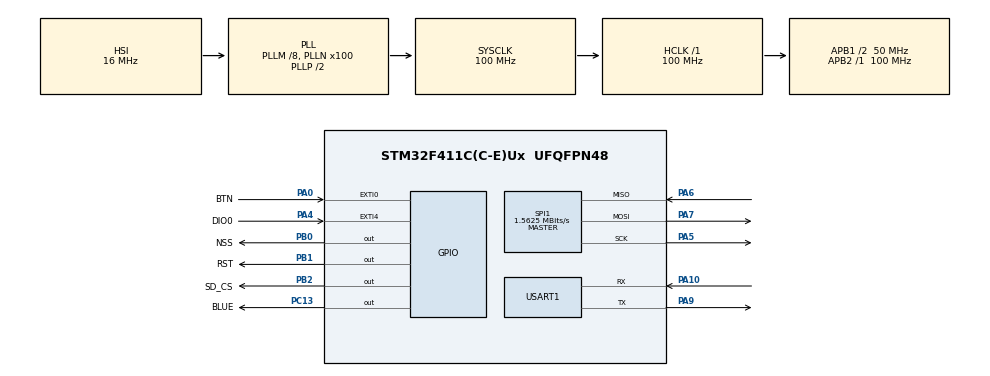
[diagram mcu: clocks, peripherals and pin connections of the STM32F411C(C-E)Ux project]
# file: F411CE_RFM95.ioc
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FATFS._MAX_SS=4096
FATFS._USE_LFN=1
Mcu.Family=STM32F4
Mcu.Name=STM32F411C(C-E)Ux
Mcu.Package=UFQFPN48
NVIC.EXTI0_IRQn=true\:5\:0\:true\:false\:true\:true\:true\:true
NVIC.EXTI4_IRQn=true\:5\:0\:true\:false\:true\:true\:true\:true
NVIC.PriorityGroup=NVIC_PRIORITYGROUP_4
NVIC.TIM2_IRQn=true\:4\:0\:true\:false\:true\:true\:true\:true
NVIC.TIM3_IRQn=true\:4\:0\:true\:false\:true\:true\:true\:true
NVIC.USART1_IRQn=true\:6\:0\:true\:false\:true\:true\:true\:true
PA0-WKUP.GPIO_Label=BTN
PA0-WKUP.GPIO_PuPd=GPIO_PULLUP
PA0-WKUP.Signal=GPXTI0
PA10.Mode=Asynchronous
PA10.Signal=USART1_RX
PA13.Mode=Serial_Wire
PA13.Signal=SYS_JTMS-SWDIO
PA14.Mode=Serial_Wire
PA14.Signal=SYS_JTCK-SWCLK
PA4.GPIO_Label=DIO0
PA4.GPIO_PuPd=GPIO_PULLDOWN
PA4.Signal=GPXTI4
PA5.Mode=Full_Duplex_Master
PA5.Signal=SPI1_SCK
PA6.Mode=Full_Duplex_Master
PA6.Signal=SPI1_MISO
PA7.Mode=Full_Duplex_Master
PA7.Signal=SPI1_MOSI
PA9.Mode=Asynchronous
PA9.Signal=USART1_TX
PB0.GPIO_Label=NSS
PB0.GPIO_PuPd=GPIO_PULLUP
PB0.PinState=GPIO_PIN_SET
PB0.Signal=GPIO_Output
PB1.GPIO_Label=RST
PB1.GPIO_PuPd=GPIO_PULLUP
PB1.PinState=GPIO_PIN_SET
PB1.Signal=GPIO_Output
PB2.GPIO_Label=SD_CS
PB2.GPIO_ModeDefaultOutputPP=GPIO_MODE_OUTPUT_PP
PB2.GPIO_PuPd=GPIO_PULLUP
PB2.PinState=GPIO_PIN_SET
PB2.Signal=GPIO_Output
PC13-ANTI_TAMP.GPIO_Label=BLUE
PC13-ANTI_TAMP.Signal=GPIO_Output
PC14-OSC32_IN.Mode=LSE-External-Oscillator
PC14-OSC32_IN.Signal=RCC_OSC32_IN
PC15-OSC32_OUT.Mode=LSE-External-Oscillator
PC15-OSC32_OUT.Signal=RCC_OSC32_OUT
PH0\ -\ OSC_IN.Mode=HSE-External-Oscillator
PH0\ -\ OSC_IN.Signal=RCC_OSC_IN
PH1\ -\ OSC_OUT.Mode=HSE-External-Oscillator
PH1\ -\ OSC_OUT.Signal=RCC_OSC_OUT
ProjectManager.HeapSize=0x200
ProjectManager.StackSize=0x400
ProjectManager.TargetToolchain=STM32CubeIDE
RCC.48MHZClocksFreq_Value=50000000
RCC.AHBFreq_Value=100000000
RCC.APB1CLKDivider=RCC_HCLK_DIV2
RCC.APB1Freq_Value=50000000
RCC.APB1TimFreq_Value=100000000
RCC.APB2Freq_Value=100000000
RCC.APB2TimFreq_Value=100000000
RCC.CortexFreq_Value=100000000
RCC.HCLKFreq_Value=100000000
RCC.HSE_VALUE=25000000
RCC.HSI_VALUE=16000000
RCC.PLLM=8
RCC.PLLN=100
RCC.RCC_RTC_Clock_SourceVirtual=RCC_RTCCLKSOURCE_LSE
RCC.SYSCLKFreq_VALUE=100000000
RCC.SYSCLKSource=RCC_SYSCLKSOURCE_PLLCLK
RCC.VCOOutputFreq_Value=200000000
RTC.Date=24
RTC.Hours=21
RTC.Minutes=50
RTC.Month=RTC_MONTH_FEBRUARY
RTC.WeekDay=RTC_WEEKDAY_SATURDAY
RTC.Year=24
SPI1.BaudRatePrescaler=SPI_BAUDRATEPRESCALER_64
SPI1.CalculateBaudRate=1.5625 MBits/s
SPI1.Direction=SPI_DIRECTION_2LINES
SPI1.Mode=SPI_MODE_MASTER
SPI1.VirtualType=VM_MASTER
TIM1.Prescaler=100-1
TIM2.Period=3000000-1
TIM2.Prescaler=100-1
TIM3.Period=25000-1
TIM3.Prescaler=10000-1
USART1.VirtualMode=VM_ASYNC
VP_FATFS_VS_Generic.Mode=User_defined
VP_RTC_VS_RTC_Activate.Mode=RTC_Enabled
VP_RTC_VS_RTC_Calendar.Mode=RTC_Calendar
VP_TIM1_VS_ClockSourceINT.Mode=Internal
VP_TIM2_VS_ClockSourceINT.Mode=Internal
VP_TIM3_VS_ClockSourceINT.Mode=Internal
board=custom

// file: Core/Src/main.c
/* USER CODE BEGIN Header */
/**
  ******************************************************************************
  * @file           : main.c
  * @brief          : Main program body
  ******************************************************************************
  * @attention
  *
  * Copyright (c) 2024 STMicroelectronics.
  * All rights reserved.
  *
  * This software is licensed under terms that can be found in the LICENSE file
  * in the root directory of this software component.
  * If no LICENSE file comes with this software, it is provided AS-IS.
  *
  ******************************************************************************
  */
/* USER CODE END Header */
#include "main.h"
#include "fatfs.h"

/* USER CODE BEGIN Includes */
#include <stdbool.h>
#include <stdint.h>
#include <stdio.h>
#include <stdlib.h>
#include <string.h>
#include "RFM95.h"
#include "fatfs_sd.h"
/* USER CODE END Includes */

/* USER CODE BEGIN PTD */
#ifdef __GNUC__
  #define PUTCHAR_PROTOTYPE int __io_putchar(int ch)
#else
  #define PUTCHAR_PROTOTYPE int fputc(int ch, FILE *f)
#endif /* __GNUC__ */
/* USER CODE END PTD */

RTC_HandleTypeDef hrtc;

SPI_HandleTypeDef hspi1;

TIM_HandleTypeDef htim1;
TIM_HandleTypeDef htim2;
TIM_HandleTypeDef htim3;

UART_HandleTypeDef huart1;

/* USER CODE BEGIN PV */
PUTCHAR_PROTOTYPE
{
	HAL_UART_Transmit(&huart1, (uint8_t *)&ch, 1, 0xFFFF);
	return ch;
}

//-----LoRa-----
RFM95_t rfm95;
bool txFlag;
bool rxFlag;
uint8_t rxBuff[16];
int id = 0;

//-----SD CARD-----
FATFS fs; // file system
FIL file; // file
FRESULT fresult; // to store the result
char buffer[1024]; // to store data
UINT br, bw;
FATFS *pfs;
DWORD fre_clust;
uint32_t total, free_space;
DIR dir; // Directory
FILINFO fno; // File info

//-----RTC-----
RTC_DateTypeDef gDate;
RTC_TimeTypeDef gTime;

//-----Timer-----
uint8_t timerStartFlag = 0;
uint8_t timer2Flag = 0;
uint8_t timer3Flag = 0;
//-----Command Line-----
typedef struct
{
	uint8_t temp[30];
	uint8_t cmd[10];
	uint8_t param[30];
	uint8_t cmdLen;
	uint8_t paramLen;
}rxCmd;
rxCmd myRxCmd;
uint8_t pos = 0;
uint8_t rxData = 0;
volatile uint8_t uartFlag = 0, cmdFlag = 0;
/* sf_10_cr45: 2500 ms
 * sf_9_cr45: 2247 ms
 * sf_8_cr45: 2134 ms
 * sf_7_cr45: 2070 ms
 * sf_10_cr48: 2592 ms
 * sf_9_cr48: 2298 ms
 * sf_8_cr48: 2163 ms
 * sf_7_cr48: 2090 ms */
uint32_t cr_sf_array[4][6] = {{2070, 2134, 2247, 2500, 2986, 3974},
							{2077, 2143, 2264, 2530, 3040, 4172},
							{2083, 2153, 2281, 2561, 3095, 4269},
							{2090, 2163, 2298, 2592, 3150, 4367}};
/* USER CODE END PV */

void SystemClock_Config(void);
static void MX_GPIO_Init(void);
static void MX_SPI1_Init(void);
static void MX_TIM1_Init(void);
static void MX_USART1_UART_Init(void);
static void MX_RTC_Init(void);
static void MX_TIM2_Init(void);
static void MX_TIM3_Init(void);

/* USER CODE BEGIN 0 */
void HAL_TIM_PeriodElapsedCallback(TIM_HandleTypeDef* htim);
void init_Date_Time(void);
void get_Date_Time(void);
void SD_init(void);
void Cmd_display(void);
bool STM32_DIO0(void);
void STM32_NRST(bool val);
void STM32_NSEL(bool val);
void STM32_DelayUs(uint32_t delay);
uint8_t STM32_SPI_Write(uint8_t* pTxData, uint8_t dataLen, uint32_t timeout);
uint8_t STM32_SPI_Read(uint8_t* pRxData, uint8_t dataLen, uint32_t timeout);
uint8_t STM32_SPI_WriteRead(uint8_t* pTxData, uint8_t* pRxData, uint8_t dataLen, uint32_t timeout);
uint8_t STM32_SPI_CheckState(void);

void HAL_GPIO_EXTI_Callback(uint16_t GPIO_Pin)
{
	// The user push button on your black pill board is connected between PA0 and GND.
	if(GPIO_Pin == BTN_Pin)
	{
		txFlag = true;
	}
	if(GPIO_Pin == DIO0_Pin)
	{
		rxFlag = true;
	}
}

void HAL_UART_RxCpltCallback(UART_HandleTypeDef *huart)
{
	if (huart->Instance == USART1)
	{
		/* Enabling interrupt receive again */
		HAL_UART_Receive_IT(&huart1,(uint8_t*)&rxData,1);
		switch(rxData)
		{
		case ' ':
			// clear array
			if(myRxCmd.cmdLen)
				memset(myRxCmd.cmd, '\0', myRxCmd.cmdLen);
			memcpy(myRxCmd.cmd, myRxCmd.temp, pos + 1);
			memset(myRxCmd.temp, '\0', pos + 1);
			myRxCmd.cmdLen = pos + 1;
			pos = 0;
			uartFlag = 1;
			printf(" ");
			break;
		case '\r':
			if(uartFlag)
			{
				// clear array
				if(myRxCmd.paramLen)
					memset(myRxCmd.param, '\0', myRxCmd.paramLen);
				memcpy(myRxCmd.param, myRxCmd.temp, pos + 1);
				myRxCmd.paramLen = pos + 1;
			}
			else
			{
				// clear array
				if(myRxCmd.cmdLen)
					memset(myRxCmd.cmd, '\0', myRxCmd.cmdLen);
				memcpy(myRxCmd.cmd, myRxCmd.temp, pos + 1);
				myRxCmd.cmdLen = pos + 1;
			}
			memset(myRxCmd.temp, '\0', pos + 1);
			pos = 0;
			uartFlag = 0;
			/* Start execute command */
			cmdFlag = 1;
			printf("\r\n");
			break;
		default:
			myRxCmd.temp[pos] = rxData;
			pos++;
			printf("%c", rxData);
		}
	}
}
/* USER CODE END 0 */

int main(void)
{

  /* MCU Configuration--------------------------------------------------------*/

  /* Reset of all peripherals, Initializes the Flash interface and the Systick. */
  HAL_Init();

  /* Configure the system clock */
  SystemClock_Config();

  /* Initialize all configured peripherals */
  MX_GPIO_Init();
  MX_SPI1_Init();
  MX_TIM1_Init();
  MX_USART1_UART_Init();
  MX_FATFS_Init();
  MX_RTC_Init();
  MX_TIM2_Init();
  MX_TIM3_Init();
  /* USER CODE BEGIN 2 */
	HAL_TIM_Base_Start(&htim1);
	/* Enabling interrupt receive again */
	HAL_UART_Receive_IT(&huart1,(uint8_t*)&rxData,1);
//	__HAL_UART_ENABLE_IT(&huart1,UART_IT_RXNE);
	/* LoRa initialization */
	rfm95.DIO.DIO0 = STM32_DIO0;
	rfm95.NRST = STM32_NRST;
	rfm95.NSEL = STM32_NSEL;
	rfm95.DelayUs = STM32_DelayUs;
	rfm95.SPI_Write = STM32_SPI_Write;
	rfm95.SPI_Read = STM32_SPI_Read;
	rfm95.SPI_WriteRead = STM32_SPI_WriteRead;
	rfm95.SPI_CheckState = STM32_SPI_CheckState;
	rfm95.spi_ok = (uint8_t)HAL_SPI_STATE_READY;

	uint8_t ret = RFM95_LoRa_Init(&rfm95);
	if(ret != RFM95_OK)
	{
	  printf("Init... fail!\r\n");
	  printf("Error code: %d\r\n", ret);
	}
	else
	{
	  printf("Init... success!\r\n");
	}
	RFM95_LoRa_setSyncWord(&rfm95, 0x34);
	HAL_Delay(500);
	/* Initialize the SD card, verify file creation, updating and deletion of file. */
	SD_init();
	HAL_Delay(500);
	/* Display operating commands */
	Cmd_display();

  /* USER CODE END 2 */

  /* Infinite loop */
  /* USER CODE BEGIN WHILE */
  while (1)
  {
	  if(cmdFlag)
	  {
		  if(strncmp("mk", (char*)myRxCmd.cmd, myRxCmd.cmdLen) == 0)
		  {
			  if(myRxCmd.paramLen == 0)
			  {
				  printf("File name is invalid !\r\n");
			  }
			  else
			  {
				  uint8_t filename[20];
				  memcpy(filename, myRxCmd.param, myRxCmd.paramLen);
				  /* Creating/Reading a file */
				  fresult = f_open(&file, (char*)filename, FA_OPEN_ALWAYS | FA_READ | FA_WRITE);
				  if(fresult == FR_OK) printf("Create file %s successfully !\r\n", filename);
				  /* Close file */
				  fresult = f_close(&file);
				  if(fresult == FR_OK) printf("Close file !\r\n");
			  }
			  memset(myRxCmd.cmd, '\0', myRxCmd.cmdLen);
			  myRxCmd.cmdLen = 0;
			  memset(myRxCmd.param, '\0', myRxCmd.paramLen);
			  myRxCmd.paramLen = 0;
			  cmdFlag = 0;
		  }
		  else if(strncmp("del", (char*)myRxCmd.cmd, myRxCmd.cmdLen) == 0)
		  {
			  if(myRxCmd.paramLen == 0)
			  {
				  printf("File name is invalid !\r\n");
			  }
			  else
			  {
				  /* Remove files */
				  fresult = f_unlink((char*)myRxCmd.param);
				  if(fresult == FR_OK)
					  printf("%s removed successfully !\r\n", myRxCmd.param);
				  else if(fresult == FR_NO_FILE)
					  printf("%s is not found !\r\n", myRxCmd.param);
			  }
			  memset(myRxCmd.cmd, '\0', myRxCmd.cmdLen);
			  myRxCmd.cmdLen = 0;
			  memset(myRxCmd.param, '\0', myRxCmd.paramLen);
			  myRxCmd.paramLen = 0;
			  cmdFlag = 0;
		  }
		  else if(strncmp("read", (char*)myRxCmd.cmd, myRxCmd.cmdLen) == 0)
		  {
			  if(myRxCmd.paramLen == 0)
			  {
				  printf("File name is invalid !\r\n");
			  }
			  else
			  {
				  uint8_t readBuff[10240] = {0};
				  /* Open file to read */
				  fresult = f_open(&file, (char*)myRxCmd.param, FA_READ);
				  /* Read string from the file */
				  f_read(&file, readBuff, f_size(&file), &br);
				  printf("Read %s :\r\n", myRxCmd.param);
				  printf("%s\r\n", readBuff);
				  /* Close file */
				  fresult = f_close(&file);
				  if(fresult == FR_OK) printf("Close file !\r\n");
			  }
			  memset(myRxCmd.cmd, '\0', myRxCmd.cmdLen);
			  myRxCmd.cmdLen = 0;
			  memset(myRxCmd.param, '\0', myRxCmd.paramLen);
			  myRxCmd.paramLen = 0;
			  cmdFlag = 0;
		  }
		  else if(strncmp("ls", (char*)myRxCmd.cmd, myRxCmd.cmdLen) == 0)
		  {
			  f_opendir(&dir, "/");
			  do{
				  f_readdir(&dir, &fno);
				  if(fno.fname[0] != 0)
					  printf("File found: %s \r\n", fno.fname);
			  }while(fno.fname[0]);
			  f_closedir(&dir);
			  memset(myRxCmd.cmd, '\0', myRxCmd.cmdLen);
			  myRxCmd.cmdLen = 0;
			  cmdFlag = 0;
		  }
		  else if(strncmp("rtc", (char*)myRxCmd.cmd, myRxCmd.cmdLen) == 0)
		  {
			  if(strncmp("on", (char*)myRxCmd.param, myRxCmd.paramLen) == 0)
			  {
				  get_Date_Time();
				  printf("%02d-%02d-%04d\r\n", gDate.Date, gDate.Month, 2000 + gDate.Year);
				  printf("%02d:%02d:%02d\r\n", gTime.Hours, gTime.Minutes, gTime.Seconds);
				  HAL_Delay(5000);
			  }
			  else if(strncmp("off", (char*)myRxCmd.param, myRxCmd.paramLen) == 0)
			  {
				  memset(myRxCmd.cmd, '\0', myRxCmd.cmdLen);
				  myRxCmd.cmdLen = 0;
				  memset(myRxCmd.param, '\0', myRxCmd.paramLen);
				  myRxCmd.paramLen = 0;
				  cmdFlag = 0;
			  }
			  else
			  {
				  printf("Invalid parameter !\r\n");
			  }
		  }
		  else if(strncmp("ready", (char*)myRxCmd.cmd, myRxCmd.cmdLen) == 0)
		  {
			  ret = RFM95_LoRa_prepareReceive(&rfm95, true);
			  if(ret != RFM95_OK)
			  {
				  printf("Rx init.. fail !\r\n");
				  printf("Error code: %d\r\n", ret);
			  }
			  else
			  {
				  printf("Rx init.. success !\r\n");
			  }
			  memset(myRxCmd.cmd, '\0', myRxCmd.cmdLen);
			  myRxCmd.cmdLen = 0;
			  cmdFlag = 0;
			  /* able to initialize timer interrupt once. */
			  timerStartFlag = 1;
		  }
		  else if(strncmp("stop", (char*)myRxCmd.cmd, myRxCmd.cmdLen) == 0)
		  {
			  ret = RFM95_LoRa_setOpMode(&rfm95, SLEEP_MODE);
			  if(ret == RFM95_OK)
				  printf("Exit rx mode !\r\n");
			  memset(myRxCmd.cmd, '\0', myRxCmd.cmdLen);
			  myRxCmd.cmdLen = 0;
			  cmdFlag = 0;
			  id = 0;
			  /* restart the timer */
			  htim2.Instance->CNT &= 0x0;
			  HAL_TIM_Base_Stop_IT(&htim2);
			  htim3.Instance->CNT &= 0x0;
			  HAL_TIM_Base_Stop_IT(&htim3);
		  }
		  else if(strncmp("rx", (char*)myRxCmd.cmd, myRxCmd.cmdLen) == 0)
		  {
			  if(myRxCmd.paramLen == 0)
			  {
				  printf("Invalid parameter !\r\n");
			  }
			  else
			  {
				  /* Timer interrupt and RTC time recorder startup to alignment time */
				  if(timerStartFlag)
				  {
					  /* restart the timer */
					  htim2.Instance->CNT &= 0x0;
					  HAL_TIM_Base_Start_IT(&htim2);
					  /* initialize RTC to 00:00 */
					  init_Date_Time();
					  /* According to the parameter, define counter period value (AutoReload Register). */
					  uint8_t row,col; // row: cr, column: sf
					  row = (rfm95.Settings.LoRa.codingRate >> 1) - 1;
					  col = rfm95.Settings.LoRa.spreadingFactor - 7;
					  printf("Matrix[%d][%d]\r\n", row, col);
					  htim3.Instance->ARR = cr_sf_array[row][col] * 10 - 1;
					  timerStartFlag = 0;
				  }
				  /* If it exceeded threshold, triggering Timer interrupt */
				  if(timer2Flag | timer3Flag)
				  {
					  uint8_t buff[50] = {0};
					  /* Receive data fail */
					  /* Update time */
					  get_Date_Time();
					  printf("Rx didn't receive the predicted signal !\r\n");
					  /* id, status, mm:ss.ooo */
					  int milisec = (1.0f - (float)gTime.SubSeconds / (float)gTime.SecondFraction) * 1000;
					  if(milisec >= 1000) milisec = 999;
					  sprintf((char*)buff, "%d,%d,%02d:%02d.%03d\n", id++, -1, gTime.Minutes, gTime.Seconds, milisec);
					  printf("Current time: %02d:%02d.%03d \r\n", gTime.Minutes, gTime.Seconds, milisec);
					  /* Updating an existing file */
					  fresult = f_open(&file, (char*)myRxCmd.param, FA_OPEN_ALWAYS | FA_WRITE);
					  if(fresult == FR_OK) printf("%s opened successfully !\r\n", myRxCmd.param);
					  /* Move to offset to the end to the file */
					  fresult = f_lseek(&file, f_size(&file));
					  /* Writing text */
					  fresult = f_puts((char*)buff, &file);
					  /* Close file */
					  fresult = f_close(&file);
					  if(fresult == FR_OK) printf("Close file !\r\n");

					  timer2Flag = 0;
					  HAL_TIM_Base_Stop_IT(&htim2);
					  timer3Flag = 0;

					  htim3.Instance->CNT &= 0x0;
					  HAL_TIM_Base_Start_IT(&htim3);
				  }
				  // DIO0 interrupt
				  if(rxFlag)
				  {
					  /* Refresh Timer2 Interrupt */
					  htim2.Instance->CNT &= 0x0;
					  HAL_TIM_Base_Start_IT(&htim2);
					  /* Stop Timer3 Interrupt */
					  htim3.Instance->CNT &= 0x0;
					  HAL_TIM_Base_Stop_IT(&htim3);

					  ret = RFM95_LoRa_receive(&rfm95, rxBuff, 16);
					  if(ret != RFM95_ERR_RX_FAIL)
					  {
						  int8_t crc = 0;
						  uint8_t buff[50] = {0};
						  if(ret == RFM95_ERR_RX_PAYLOAD_CRC)
						  {
							  crc = 0;
							  printf("Rx.. crc error !\r\n");
						  }
						  else if(ret == RFM95_OK)
						  {
							  crc = 1;
							  printf("Rx.. success!\r\n");
						  }
						  int16_t rssi = RFM95_getPcktRSSI(&rfm95);
						  float snr = RFM95_getPcktSNR(&rfm95);
						  printf("RSSI: %d, SNR: %f\r\n", rssi, snr);
						  for(int i = 0; i<16;i++)
						  {
							  printf("%02x ", rxBuff[i]);
						  }
						  printf("\r\n");

						  /* Update time */
						  get_Date_Time();
						  /* id, status, mm:ss.ooo */
						  int milisec = (1.0f - (float)gTime.SubSeconds / (float)gTime.SecondFraction) * 1000;
						  if(milisec >= 1000) milisec = 999;
						  sprintf((char*)buff, "%d,%d,%02d:%02d.%03d,%d,%.2f\n", id++, crc, gTime.Minutes, gTime.Seconds, milisec, rssi, snr);
						  printf("Current time: %02d:%02d.%03d \r\n", gTime.Minutes, gTime.Seconds, milisec);
						  /* Updating an existing file */
						  fresult = f_open(&file, (char*)myRxCmd.param, FA_OPEN_ALWAYS | FA_WRITE);
						  if(fresult == FR_OK) printf("%s opened successfully !\r\n", myRxCmd.param);
						  /* Move to offset to the end to the file */
						  fresult = f_lseek(&file, f_size(&file));
						  /* Writing text */
						  fresult = f_puts((char*)buff, &file);
						  /* Close file */
						  f_close(&file);
						  if(fresult == FR_OK) printf("Close file !\r\n");
					  }
					  else
					  {
						  printf("Rx.. fail!\r\n");
						  printf("ERROR CODE: %d\r\n", ret);
					  }
					  rxFlag = false;
				  }
			  }
		  }
		  else if(strncmp("sf", (char*)myRxCmd.cmd, myRxCmd.cmdLen) == 0)
		  {
			  int sf = atoi((char*)myRxCmd.param);
			  if(sf >= 7 && sf <= 12 )
			  {
				  uint8_t ret;
				  ret = RFM95_LoRa_setSpreadingFactor(&rfm95, sf);
				  if(ret) printf("ERROR CODE: %d\r\n", ret);
				  else printf("SF %d is set.\r\n", sf);
				  if(sf > 10)
				  {
					  htim2.Instance->ARR = 5000000-1;
				  }
				  else
					  htim2.Instance->ARR = 3000000-1;
			  }
			  else
			  {
				  printf("Invalid parameter !\r\n");
			  }
			  memset(myRxCmd.cmd, '\0', myRxCmd.cmdLen);
			  myRxCmd.cmdLen = 0;
			  memset(myRxCmd.param, '\0', myRxCmd.paramLen);
			  myRxCmd.paramLen = 0;
			  cmdFlag = 0;
		  }
		  else if(strncmp("bw", (char*)myRxCmd.cmd, myRxCmd.cmdLen) == 0)
		  {
			  int bw = atoi((char*)myRxCmd.param);
			  if(bw >= 7 && bw <=500)
			  {
				  lora_bw lbw;
				  if(bw <= 8)
					  lbw = BW_7_8_kHz;
				  else if(bw <= 11)
					  lbw = BW_10_4_kHz;
				  else if(bw <= 16)
					  lbw = BW_15_6_kHz;
				  else if(bw <= 21)
					  lbw = BW_20_8_kHz;
				  else if(bw <= 32)
					  lbw = BW_31_25_kHz;
				  else if(bw <= 42)
					  lbw = BW_41_7_kHz;
				  else if(bw <= 63)
					  lbw = BW_62_5_kHz;
				  else if(bw <= 125)
					  lbw = BW_125_kHz;
				  else if(bw <= 250)
					  lbw = BW_250_kHz;
				  else if(bw <= 500)
					  lbw = BW_500_kHz;

				  uint8_t ret = RFM95_LoRa_setBandwidth(&rfm95, lbw);
				  if(ret) printf("ERROR CODE: %d\r\n", ret);
				  else printf("BW %d is set.\r\n", bw);
			  }
			  else
			  {
				  printf("Invalid parameter !\r\n");
			  }
			  memset(myRxCmd.cmd, '\0', myRxCmd.cmdLen);
			  myRxCmd.cmdLen = 0;
			  memset(myRxCmd.param, '\0', myRxCmd.paramLen);
			  myRxCmd.paramLen = 0;
			  cmdFlag = 0;
		  }
		  else if(strncmp("cr", (char*)myRxCmd.cmd, myRxCmd.cmdLen) == 0)
		  {
			  int cr = atoi((char*)myRxCmd.param);
			  if(cr >= 1 && cr <=4)
			  {
				  uint8_t ret = RFM95_LoRa_setCodingRate(&rfm95, cr*2);
				  if(ret) printf("ERROR CODE: %d\r\n", ret);
				  else printf("CR 4/%d is set.\r\n", cr + 4);
			  }
			  else
			  {
				  printf("Invalid parameter !\r\n");
			  }
			  memset(myRxCmd.cmd, '\0', myRxCmd.cmdLen);
			  myRxCmd.cmdLen = 0;
			  memset(myRxCmd.param, '\0', myRxCmd.paramLen);
			  myRxCmd.paramLen = 0;
			  cmdFlag = 0;
		  }
		  else if(strncmp("freq", (char*)myRxCmd.cmd, myRxCmd.cmdLen) == 0)
		  {
			  int kHz = atoi((char*)myRxCmd.param);
			  if(kHz >= 902000 && kHz <= 928000)
			  {
				  uint8_t ret = RFM95_setFrequency(&rfm95, kHz*1000);
				  if(ret) printf("ERROR CODE: %d\r\n", ret);
				  else printf("Frequency %d is set.\r\n", kHz*1000);
			  }
			  else
			  {
				  printf("Invalid parameter !\r\n");
			  }
			  memset(myRxCmd.cmd, '\0', myRxCmd.cmdLen);
			  myRxCmd.cmdLen = 0;
			  memset(myRxCmd.param, '\0', myRxCmd.paramLen);
			  myRxCmd.paramLen = 0;
			  cmdFlag = 0;
		  }
		  else if(strncmp("mount", (char*)myRxCmd.cmd, myRxCmd.cmdLen) == 0)
		  {
			  fresult = f_mount(&fs, "", 0);
			  if(fresult != FR_OK)
				  printf("error in mounting SD CARD... \r\n");
			  else
				  printf("SD CARD mounted successfully... \r\n");
			  /* Check free space */
			  f_getfree("", &fre_clust, &pfs);

			  total = (uint32_t)((pfs->n_fatent - 2) * pfs->csize * 0.5);
			  printf("SD CARD total size: \t%lu\r\n", total);
			  free_space = (uint32_t)(fre_clust * pfs->csize * 0.5);
			  printf("SD CARD free space: \t%lu\r\n", free_space);

			  memset(myRxCmd.cmd, '\0', myRxCmd.cmdLen);
			  myRxCmd.cmdLen = 0;
			  memset(myRxCmd.param, '\0', myRxCmd.paramLen);
			  myRxCmd.paramLen = 0;
			  cmdFlag = 0;
		  }
		  else if(strncmp("ldro", (char*)myRxCmd.cmd, myRxCmd.cmdLen) == 0)
		  {
			  if(strncmp("on", (char*)myRxCmd.param, myRxCmd.paramLen) == 0)
			  {
				  uint8_t ret = RFM95_LoRa_setLowDataRateOpt(&rfm95, true);
				  if(ret) printf("ERROR CODE: %d\r\n", ret);
				  else printf("Low Data Rate Opt: %d.\r\n", 1);
			  }
			  else if(strncmp("off", (char*)myRxCmd.param, myRxCmd.paramLen) == 0)
			  {
				  uint8_t ret = RFM95_LoRa_setLowDataRateOpt(&rfm95, false);
				  if(ret) printf("ERROR CODE: %d\r\n", ret);
				  else printf("Low Data Rate Opt: %d.\r\n", 0);
			  }
			  else
			  {
				  printf("Invalid parameter !\r\n");
			  }
			  memset(myRxCmd.cmd, '\0', myRxCmd.cmdLen);
			  myRxCmd.cmdLen = 0;
			  memset(myRxCmd.param, '\0', myRxCmd.paramLen);
			  myRxCmd.paramLen = 0;
			  cmdFlag = 0;
		  }
		  else if(strncmp("init", (char*)myRxCmd.cmd, myRxCmd.cmdLen) == 0)
		  {
			  uint8_t ret = RFM95_LoRa_Init(&rfm95);
			  if(ret != RFM95_OK)
			  {
				  printf("Init... fail!\r\n");
				  printf("Error code: %d\r\n", ret);
			  }
			  else
			  {
				  printf("Init... success!\r\n");
			  }
			  memset(myRxCmd.cmd, '\0', myRxCmd.cmdLen);
			  myRxCmd.cmdLen = 0;
			  memset(myRxCmd.param, '\0', myRxCmd.paramLen);
			  myRxCmd.paramLen = 0;
			  cmdFlag = 0;
		  }
		  else
		  {
			  printf("Invalid command !\r\n");
			  cmdFlag = 0;
		  }
	  }
    /* USER CODE END WHILE */

  }
}

void SystemClock_Config(void)
{
  RCC_OscInitTypeDef RCC_OscInitStruct = {0};
  RCC_ClkInitTypeDef RCC_ClkInitStruct = {0};

  /** Configure the main internal regulator output voltage
  */
  __HAL_RCC_PWR_CLK_ENABLE();
  __HAL_PWR_VOLTAGESCALING_CONFIG(PWR_REGULATOR_VOLTAGE_SCALE1);

  /** Initializes the RCC Oscillators according to the specified parameters
  * in the RCC_OscInitTypeDef structure.
  */
  RCC_OscInitStruct.OscillatorType = RCC_OSCILLATORTYPE_HSI|RCC_OSCILLATORTYPE_LSE;
  RCC_OscInitStruct.LSEState = RCC_LSE_ON;
  RCC_OscInitStruct.HSIState = RCC_HSI_ON;
  RCC_OscInitStruct.HSICalibrationValue = RCC_HSICALIBRATION_DEFAULT;
  RCC_OscInitStruct.PLL.PLLState = RCC_PLL_ON;
  RCC_OscInitStruct.PLL.PLLSource = RCC_PLLSOURCE_HSI;
  RCC_OscInitStruct.PLL.PLLM = 8;
  RCC_OscInitStruct.PLL.PLLN = 100;
  RCC_OscInitStruct.PLL.PLLP = RCC_PLLP_DIV2;
  RCC_OscInitStruct.PLL.PLLQ = 4;
  if (HAL_RCC_OscConfig(&RCC_OscInitStruct) != HAL_OK)
  {
    Error_Handler();
  }

  /** Initializes the CPU, AHB and APB buses clocks
  */
  RCC_ClkInitStruct.ClockType = RCC_CLOCKTYPE_HCLK|RCC_CLOCKTYPE_SYSCLK
                              |RCC_CLOCKTYPE_PCLK1|RCC_CLOCKTYPE_PCLK2;
  RCC_ClkInitStruct.SYSCLKSource = RCC_SYSCLKSOURCE_PLLCLK;
  RCC_ClkInitStruct.AHBCLKDivider = RCC_SYSCLK_DIV1;
  RCC_ClkInitStruct.APB1CLKDivider = RCC_HCLK_DIV2;
  RCC_ClkInitStruct.APB2CLKDivider = RCC_HCLK_DIV1;

  if (HAL_RCC_ClockConfig(&RCC_ClkInitStruct, FLASH_LATENCY_3) != HAL_OK)
  {
    Error_Handler();
  }
}

static void MX_RTC_Init(void)
{

  RTC_TimeTypeDef sTime = {0};
  RTC_DateTypeDef sDate = {0};

  /** Initialize RTC Only
  */
  hrtc.Instance = RTC;
  hrtc.Init.HourFormat = RTC_HOURFORMAT_24;
  hrtc.Init.AsynchPrediv = 127;
  hrtc.Init.SynchPrediv = 255;
  hrtc.Init.OutPut = RTC_OUTPUT_DISABLE;
  hrtc.Init.OutPutPolarity = RTC_OUTPUT_POLARITY_HIGH;
  hrtc.Init.OutPutType = RTC_OUTPUT_TYPE_OPENDRAIN;
  if (HAL_RTC_Init(&hrtc) != HAL_OK)
  {
    Error_Handler();
  }

  /** Initialize RTC and set the Time and Date
  */
  sTime.Hours = 0x21;
  sTime.Minutes = 0x50;
  sTime.Seconds = 0x0;
  sTime.DayLightSaving = RTC_DAYLIGHTSAVING_NONE;
  sTime.StoreOperation = RTC_STOREOPERATION_RESET;
  if (HAL_RTC_SetTime(&hrtc, &sTime, RTC_FORMAT_BCD) != HAL_OK)
  {
    Error_Handler();
  }
  sDate.WeekDay = RTC_WEEKDAY_SATURDAY;
  sDate.Month = RTC_MONTH_FEBRUARY;
  sDate.Date = 0x24;
  sDate.Year = 0x24;

  if (HAL_RTC_SetDate(&hrtc, &sDate, RTC_FORMAT_BCD) != HAL_OK)
  {
    Error_Handler();
  }

}

static void MX_SPI1_Init(void)
{

  /* SPI1 parameter configuration*/
  hspi1.Instance = SPI1;
  hspi1.Init.Mode = SPI_MODE_MASTER;
  hspi1.Init.Direction = SPI_DIRECTION_2LINES;
  hspi1.Init.DataSize = SPI_DATASIZE_8BIT;
  hspi1.Init.CLKPolarity = SPI_POLARITY_LOW;
  hspi1.Init.CLKPhase = SPI_PHASE_1EDGE;
  hspi1.Init.NSS = SPI_NSS_SOFT;
  hspi1.Init.BaudRatePrescaler = SPI_BAUDRATEPRESCALER_64;
  hspi1.Init.FirstBit = SPI_FIRSTBIT_MSB;
  hspi1.Init.TIMode = SPI_TIMODE_DISABLE;
  hspi1.Init.CRCCalculation = SPI_CRCCALCULATION_DISABLE;
  hspi1.Init.CRCPolynomial = 10;
  if (HAL_SPI_Init(&hspi1) != HAL_OK)
  {
    Error_Handler();
  }

}

static void MX_TIM1_Init(void)
{

  TIM_ClockConfigTypeDef sClockSourceConfig = {0};
  TIM_MasterConfigTypeDef sMasterConfig = {0};

  htim1.Instance = TIM1;
  htim1.Init.Prescaler = 100-1;
  htim1.Init.CounterMode = TIM_COUNTERMODE_UP;
  htim1.Init.Period = 65535;
  htim1.Init.ClockDivision = TIM_CLOCKDIVISION_DIV1;
  htim1.Init.RepetitionCounter = 0;
  htim1.Init.AutoReloadPreload = TIM_AUTORELOAD_PRELOAD_DISABLE;
  if (HAL_TIM_Base_Init(&htim1) != HAL_OK)
  {
    Error_Handler();
  }
  sClockSourceConfig.ClockSource = TIM_CLOCKSOURCE_INTERNAL;
  if (HAL_TIM_ConfigClockSource(&htim1, &sClockSourceConfig) != HAL_OK)
  {
    Error_Handler();
  }
  sMasterConfig.MasterOutputTrigger = TIM_TRGO_RESET;
  sMasterConfig.MasterSlaveMode = TIM_MASTERSLAVEMODE_DISABLE;
  if (HAL_TIMEx_MasterConfigSynchronization(&htim1, &sMasterConfig) != HAL_OK)
  {
    Error_Handler();
  }

}

static void MX_TIM2_Init(void)
{

  TIM_ClockConfigTypeDef sClockSourceConfig = {0};
  TIM_MasterConfigTypeDef sMasterConfig = {0};

  htim2.Instance = TIM2;
  htim2.Init.Prescaler = 100-1;
  htim2.Init.CounterMode = TIM_COUNTERMODE_UP;
  htim2.Init.Period = 3000000-1;
  htim2.Init.ClockDivision = TIM_CLOCKDIVISION_DIV1;
  htim2.Init.AutoReloadPreload = TIM_AUTORELOAD_PRELOAD_DISABLE;
  if (HAL_TIM_Base_Init(&htim2) != HAL_OK)
  {
    Error_Handler();
  }
  sClockSourceConfig.ClockSource = TIM_CLOCKSOURCE_INTERNAL;
  if (HAL_TIM_ConfigClockSource(&htim2, &sClockSourceConfig) != HAL_OK)
  {
    Error_Handler();
  }
  sMasterConfig.MasterOutputTrigger = TIM_TRGO_RESET;
  sMasterConfig.MasterSlaveMode = TIM_MASTERSLAVEMODE_DISABLE;
  if (HAL_TIMEx_MasterConfigSynchronization(&htim2, &sMasterConfig) != HAL_OK)
  {
    Error_Handler();
  }

}

static void MX_TIM3_Init(void)
{

  TIM_ClockConfigTypeDef sClockSourceConfig = {0};
  TIM_MasterConfigTypeDef sMasterConfig = {0};

  htim3.Instance = TIM3;
  htim3.Init.Prescaler = 10000-1;
  htim3.Init.CounterMode = TIM_COUNTERMODE_UP;
  htim3.Init.Period = 25000-1;
  htim3.Init.ClockDivision = TIM_CLOCKDIVISION_DIV1;
  htim3.Init.AutoReloadPreload = TIM_AUTORELOAD_PRELOAD_DISABLE;
  if (HAL_TIM_Base_Init(&htim3) != HAL_OK)
  {
    Error_Handler();
  }
  sClockSourceConfig.ClockSource = TIM_CLOCKSOURCE_INTERNAL;
  if (HAL_TIM_ConfigClockSource(&htim3, &sClockSourceConfig) != HAL_OK)
  {
    Error_Handler();
  }
  sMasterConfig.MasterOutputTrigger = TIM_TRGO_RESET;
  sMasterConfig.MasterSlaveMode = TIM_MASTERSLAVEMODE_DISABLE;
  if (HAL_TIMEx_MasterConfigSynchronization(&htim3, &sMasterConfig) != HAL_OK)
  {
    Error_Handler();
  }

}

static void MX_USART1_UART_Init(void)
{

  huart1.Instance = USART1;
  huart1.Init.BaudRate = 115200;
  huart1.Init.WordLength = UART_WORDLENGTH_8B;
  huart1.Init.StopBits = UART_STOPBITS_1;
  huart1.Init.Parity = UART_PARITY_NONE;
  huart1.Init.Mode = UART_MODE_TX_RX;
  huart1.Init.HwFlowCtl = UART_HWCONTROL_NONE;
  huart1.Init.OverSampling = UART_OVERSAMPLING_16;
  if (HAL_UART_Init(&huart1) != HAL_OK)
  {
    Error_Handler();
  }

}

static void MX_GPIO_Init(void)
{
  GPIO_InitTypeDef GPIO_InitStruct = {0};

  /* GPIO Ports Clock Enable */
  __HAL_RCC_GPIOC_CLK_ENABLE();
  __HAL_RCC_GPIOH_CLK_ENABLE();
  __HAL_RCC_GPIOA_CLK_ENABLE();
  __HAL_RCC_GPIOB_CLK_ENABLE();

  /*Configure GPIO pin Output Level */
  HAL_GPIO_WritePin(BLUE_GPIO_Port, BLUE_Pin, GPIO_PIN_RESET);

  /*Configure GPIO pin Output Level */
  HAL_GPIO_WritePin(GPIOB, NSS_Pin|RST_Pin|SD_CS_Pin, GPIO_PIN_SET);

  /*Configure GPIO pin : BLUE_Pin */
  GPIO_InitStruct.Pin = BLUE_Pin;
  GPIO_InitStruct.Mode = GPIO_MODE_OUTPUT_PP;
  GPIO_InitStruct.Pull = GPIO_NOPULL;
  GPIO_InitStruct.Speed = GPIO_SPEED_FREQ_LOW;
  HAL_GPIO_Init(BLUE_GPIO_Port, &GPIO_InitStruct);

  /*Configure GPIO pin : BTN_Pin */
  GPIO_InitStruct.Pin = BTN_Pin;
  GPIO_InitStruct.Mode = GPIO_MODE_IT_RISING;
  GPIO_InitStruct.Pull = GPIO_PULLUP;
  HAL_GPIO_Init(BTN_GPIO_Port, &GPIO_InitStruct);

  /*Configure GPIO pin : DIO0_Pin */
  GPIO_InitStruct.Pin = DIO0_Pin;
  GPIO_InitStruct.Mode = GPIO_MODE_IT_RISING;
  GPIO_InitStruct.Pull = GPIO_PULLDOWN;
  HAL_GPIO_Init(DIO0_GPIO_Port, &GPIO_InitStruct);

  /*Configure GPIO pins : NSS_Pin RST_Pin SD_CS_Pin */
  GPIO_InitStruct.Pin = NSS_Pin|RST_Pin|SD_CS_Pin;
  GPIO_InitStruct.Mode = GPIO_MODE_OUTPUT_PP;
  GPIO_InitStruct.Pull = GPIO_PULLUP;
  GPIO_InitStruct.Speed = GPIO_SPEED_FREQ_LOW;
  HAL_GPIO_Init(GPIOB, &GPIO_InitStruct);

  /* EXTI interrupt init*/
  HAL_NVIC_SetPriority(EXTI0_IRQn, 5, 0);
  HAL_NVIC_EnableIRQ(EXTI0_IRQn);

  HAL_NVIC_SetPriority(EXTI4_IRQn, 5, 0);
  HAL_NVIC_EnableIRQ(EXTI4_IRQn);

}

/* USER CODE BEGIN 4 */
/* Trigger Timer Interrupt per 3 seconds */
void HAL_TIM_PeriodElapsedCallback(TIM_HandleTypeDef* htim)
{
	if(htim == &htim2)
	{
		timer2Flag = 1;
	}
	if(htim == &htim3)
	{
		timer3Flag = 1;
	}
}

void Cmd_display(void)
{
	printf("Create file -----------------> mk    [filename] \r\n");
	printf("Delete file -----------------> del   [filename] \r\n");
	printf("Read file -------------------> read  [filename] \r\n");
	printf("Listing files ---------------> ls \r\n");
	printf("Rx mode turn on -------------> ready \r\n");
	printf("Rx mode turn off ------------> stop \r\n");
	printf("Persist data to a file ------> rx    [filename] \r\n");
	printf("Get current time ------------> rtc   [on/off]\r\n");
	printf("Set Spreading Factor --------> sf    [number] \r\n");
	printf("Set Bandwidth ---------------> bw    [kHz] \r\n");
	printf("Set Coding Rate -------------> cr    [number] \r\n");
	printf("Set Frequency ---------------> freq  [kHz] \r\n");
	printf("Set LDRO --------------------> ldro  [on/off] \r\n");
	printf("Initialize RFM-95 -----------> init \r\n");
	printf("Reset SD Card ---------------> mount \r\n");
}

void SD_init(void)
{
	/* Mount SD Card */
	fresult = f_mount(&fs, "", 0);
	if(fresult != FR_OK)
		printf("error in mounting SD CARD... \r\n");
	else
		printf("SD CARD mounted successfully... \r\n");
	/* Check free space */
	f_getfree("", &fre_clust, &pfs);

	total = (uint32_t)((pfs->n_fatent - 2) * pfs->csize * 0.5);
	printf("SD CARD total size: \t%lu\r\n", total);
	free_space = (uint32_t)(fre_clust * pfs->csize * 0.5);
	printf("SD CARD free space: \t%lu\r\n", free_space);
	/* Creating/Reading a file */
	fresult = f_open(&file, "test.txt", FA_OPEN_ALWAYS | FA_READ | FA_WRITE);
	/* Writing text */
	fresult = f_puts("First line\n", &file);
	/* Close file */
	fresult = f_close(&file);
	/* Open file to read */
	fresult = f_open(&file, "test.txt", FA_READ);
	/* Read string from the file */
	f_read(&file, buffer, f_size(&file), &br);
	printf("%s\r\n", buffer);
	/* Close file */
	fresult = f_close(&file);

	/* Updating an existing file */
	fresult = f_open(&file, "test.txt", FA_OPEN_ALWAYS | FA_WRITE);
	/* Move to offset to the end to the file */
	fresult = f_lseek(&file, f_size(&file));
	/* Writing text */
	fresult = f_puts("This is updated data and it should be in the end\n", &file);
	f_close(&file);
	/* Open file to read */
	fresult = f_open(&file, "test.txt", FA_READ);
	/* Read string from the file */
	f_read(&file, buffer, f_size(&file), &br);
	printf("%s\r\n", buffer);
	f_close(&file);
	/* Remove files */
	fresult = f_unlink("test.txt");
	if(fresult == FR_OK) printf("test.txt removed successfully\r\n");
}

void init_Date_Time()
{
	gTime.Hours = 0x14;
	gTime.Minutes = 0x00;
	gTime.Seconds = 0x00;
	gDate.Date = 0x26;
	/* Get the RTC current Time */
	HAL_RTC_SetTime(&hrtc, &gTime, RTC_FORMAT_BIN);
	/* Get the RTC current Date */
	HAL_RTC_SetDate(&hrtc, &gDate, RTC_FORMAT_BIN);
}

void get_Date_Time(void)
{
	/* Get the RTC current Time */
	HAL_RTC_GetTime(&hrtc, &gTime, RTC_FORMAT_BIN);
	/* Get the RTC current Date */
	HAL_RTC_GetDate(&hrtc, &gDate, RTC_FORMAT_BIN);
}

bool STM32_DIO0(void)
{
	return (bool)HAL_GPIO_ReadPin(DIO0_GPIO_Port, DIO0_Pin);
}

void STM32_NRST(bool val)
{
	HAL_GPIO_WritePin(RST_GPIO_Port, RST_Pin, (GPIO_PinState)val);
}

void STM32_NSEL(bool val)
{
	HAL_GPIO_WritePin(NSS_GPIO_Port, NSS_Pin, (GPIO_PinState)val);
}

void STM32_DelayUs(uint32_t delay)
{
	__HAL_TIM_SET_COUNTER(&htim1, 0);
	while((__HAL_TIM_GET_COUNTER(&htim1)) < delay);
}

uint8_t STM32_SPI_Write(uint8_t* pTxData, uint8_t dataLen, uint32_t timeout)
{
	return (uint8_t)HAL_SPI_Transmit(&hspi1, pTxData, dataLen, timeout);
}

uint8_t STM32_SPI_Read(uint8_t* pRxData, uint8_t dataLen, uint32_t timeout)
{
	return (uint8_t)HAL_SPI_Receive(&hspi1, pRxData, dataLen, timeout);
}

uint8_t STM32_SPI_WriteRead(uint8_t* pTxData, uint8_t* pRxData, uint8_t dataLen, uint32_t timeout)
{
	uint8_t* rxbuff = (uint8_t*)malloc((dataLen) * sizeof(uint8_t));
	uint8_t ret;
	ret = (uint8_t)HAL_SPI_TransmitReceive(&hspi1, pTxData, rxbuff, dataLen, timeout);
	for(int i = 0; i < dataLen - 1; i++)
	{
		pRxData[i] = rxbuff[i + 1];
	}
	free(rxbuff);
	return ret;
}

uint8_t STM32_SPI_CheckState(void)
{
	return (uint8_t)HAL_SPI_GetState(&hspi1);
}
/* USER CODE END 4 */

void Error_Handler(void)
{
  __disable_irq();
  while (1)
  {
  }
}
